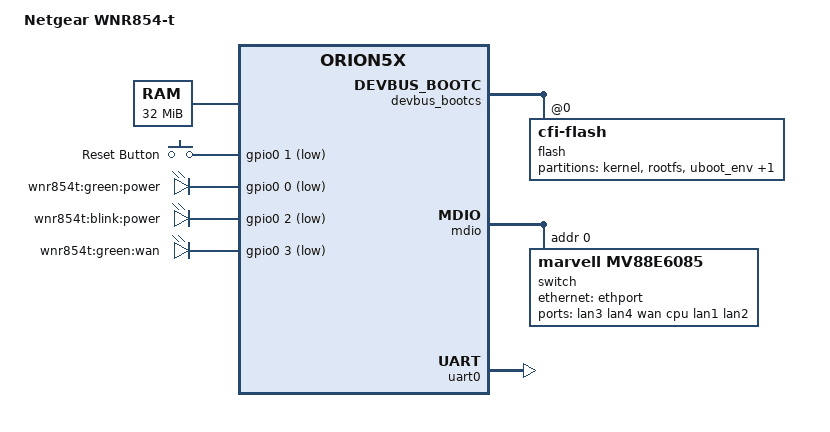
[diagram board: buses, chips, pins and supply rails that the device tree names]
FASTVC-BENCH-CORPUS:linux-main-100k-v1-e0bd41dc-8e12-4f1b-978d-a3645ae59da0
/*
 * Copyright (C) 2016 Jamie Lentin <jm@lentin.co.uk>
 *
 * This file is licensed under the terms of the GNU General Public
 * License version 2. This program is licensed "as is" without any
 * warranty of any kind, whether express or implied.
 */

/dts-v1/;

#include <dt-bindings/gpio/gpio.h>
#include <dt-bindings/input/input.h>
#include "orion5x-mv88f5181.dtsi"

/ {
	model = "Netgear WNR854-t";
	compatible = "netgear,wnr854t", "marvell,orion5x-88f5181",
		     "marvell,orion5x";
	aliases {
		serial0 = &uart0;
	};

	memory {
		device_type = "memory";
		reg = <0x00000000 0x2000000>; /* 32 MB */
	};

	chosen {
		stdout-path = "serial0:115200n8";
	};

	soc {
		ranges = <MBUS_ID(0xf0, 0x01) 0 0xf1000000 0x100000>,
			 <MBUS_ID(0x09, 0x00) 0 0xf2200000 0x800>,
			 <MBUS_ID(0x01, 0x0f) 0 0xf4000000 0x800000>;
	};

	gpio-keys {
		compatible = "gpio-keys";
		pinctrl-0 = <&pmx_reset_button>;
		pinctrl-names = "default";

		reset {
			label = "Reset Button";
			linux,code = <KEY_RESTART>;
			gpios = <&gpio0 1 GPIO_ACTIVE_LOW>;
		};
	};

	gpio-leds {
		compatible = "gpio-leds";
		pinctrl-0 = <&pmx_power_led &pmx_power_led_blink &pmx_wan_led>;
		pinctrl-names = "default";

		led@0 {
			label = "wnr854t:green:power";
			gpios = <&gpio0 0 GPIO_ACTIVE_LOW>;
		};

		led@1 {
			label = "wnr854t:blink:power";
			gpios = <&gpio0 2 GPIO_ACTIVE_LOW>;
		};

		led@2 {
			label = "wnr854t:green:wan";
			gpios = <&gpio0 3 GPIO_ACTIVE_LOW>;
		};
	};
};

&devbus_bootcs {
	status = "okay";

	devbus,keep-config;

	flash@0 {
		compatible = "cfi-flash";
		reg = <0 0x800000>;
		bank-width = <2>;

		partitions {
			compatible = "fixed-partitions";
			#address-cells = <1>;
			#size-cells = <1>;

			partition@0 {
				label = "kernel";
				reg = <0x0 0x100000>;
			};

			partition@100000 {
				label = "rootfs";
				reg = <0x100000 0x660000>;
			};

			partition@760000 {
				label = "uboot_env";
				reg = <0x760000 0x20000>;
			};

			partition@780000 {
				label = "uboot";
				reg = <0x780000 0x80000>;
				read-only;
			};
		};
	};
};

&mdio {
	status = "okay";

	switch: switch@0 {
		compatible = "marvell,mv88e6085";
		#address-cells = <1>;
		#size-cells = <0>;
		reg = <0>;
		dsa,member = <0 0>;

		ports {
			#address-cells = <1>;
			#size-cells = <0>;

			port@0 {
				reg = <0>;
				label = "lan3";
				phy-handle = <&lan3phy>;
			};

			port@1 {
				reg = <1>;
				label = "lan4";
				phy-handle = <&lan4phy>;
			};

			port@2 {
				reg = <2>;
				label = "wan";
/* bench 509.0.0 7f63c4fd2a10 */
/* bench 509.0.1 02f3af5af767 */
/* bench 509.0.2 b636443a21e1 */
/* bench 509.0.3 03f3e09f688c */
/* bench 1661.2.0 711bde2d2789 */
/* bench 1661.2.1 8ac0b235337d */
/* bench 1661.2.2 3cf7870a7430 */
/* bench 1661.2.3 75e883a3a203 */
/* bench 1661.2.4 035c20a39d2f */
/* bench 1661.2.5 d0b56bcb1c22 */
			port@3 {
				reg = <3>;
				label = "cpu";
				ethernet = <&ethport>;
			};

			port@5 {
				reg = <5>;
				label = "lan1";
				phy-handle = <&lan1phy>;
			};

			port@7 {
				reg = <7>;
				label = "lan2";
				phy-handle = <&lan2phy>;
			};
		};

		mdio {
			#address-cells = <1>;
			#size-cells = <0>;

			lan3phy: ethernet-phy@0 {
				/* Marvell 88E1121R (port 1) */
				compatible = "ethernet-phy-id0141.0cb0",
					     "ethernet-phy-ieee802.3-c22";
				reg = <0>;
				marvell,reg-init = <3 16 0 0x1777 3 17 0 0x15>;
			};

			lan4phy: ethernet-phy@1 {
				/* Marvell 88E1121R (port 2) */
				compatible = "ethernet-phy-id0141.0cb0",
					     "ethernet-phy-ieee802.3-c22";
				reg = <1>;
				marvell,reg-init = <3 16 0 0x1777 3 17 0 0x15>;
			};

			wanphy: ethernet-phy@2 {
				/* Marvell 88E1121R (port 1) */
				compatible = "ethernet-phy-id0141.0cb0",
					     "ethernet-phy-ieee802.3-c22";
				reg = <2>;
				marvell,reg-init = <3 16 0 0x1777 3 17 0 0x15>;
			};

			lan1phy: ethernet-phy@5 {
				/* Marvell 88E1112 */
				compatible = "ethernet-phy-id0141.0cb0",
					     "ethernet-phy-ieee802.3-c22";
				reg = <5>;
				marvell,reg-init = <3 16 0 0x1777 3 17 0 0x15>;
			};

			lan2phy: ethernet-phy@7 {
				/* Marvell 88E1112 */
				compatible = "ethernet-phy-id0141.0cb0",
					     "ethernet-phy-ieee802.3-c22";
				reg = <7>;
				marvell,reg-init = <3 16 0 0x1777 3 17 0 0x15>;
			};
		};
	};
};

&eth {
	status = "okay";

	ethernet-port@0 {
		/* Hardwired to DSA switch */
		speed = <1000>;
		duplex = <1>;
	};
};

&pinctrl {
	pinctrl-0 = <&pmx_pci_gpios>;
	pinctrl-names = "default";

/* bench 14108.3.0 97916387f0fa */
/* bench 14108.3.1 349a681c44e4 */
/* bench 14108.3.2 902e6101ac17 */
/* bench 14108.3.3 83ca045ecea9 */
/* bench 14108.3.4 d441c6354821 */
/* bench 14108.3.5 6b4286dd1e24 */
/* bench 14108.3.6 2de19303da3a */
/* bench 14108.3.7 b752d0b87e89 */
/* bench 14108.3.8 f6fed1680ae6 */
		marvell,function = "gpio";
	};

	pmx_reset_button: pmx-reset-button {
		marvell,pins = "mpp1";
		marvell,function = "gpio";
	};

	pmx_power_led_blink: pmx-power-led-blink {
		marvell,pins = "mpp2";
		marvell,function = "gpio";
	};

	pmx_wan_led: pmx-wan-led {
		marvell,pins = "mpp3";
		marvell,function = "gpio";
	};

	pmx_pci_gpios: pmx-pci-gpios {
		marvell,pins = "mpp4";
		marvell,function = "gpio";
	};
};

&uart0 {
	/* Pin 1: Tx, Pin 7: Rx, Pin 8: Gnd */
	status = "okay";
};
